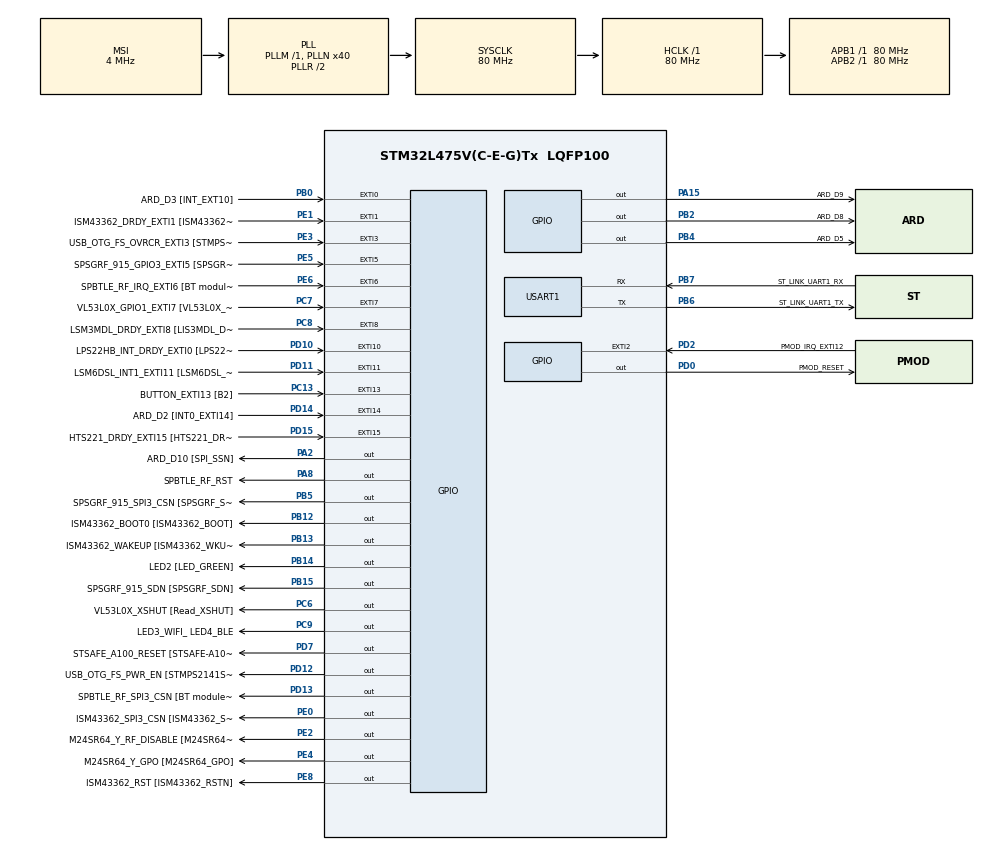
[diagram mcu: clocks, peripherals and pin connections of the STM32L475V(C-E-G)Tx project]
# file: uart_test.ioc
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FREERTOS.Mutexes01=mutex,Dynamic,NULL,Available
FREERTOS.Tasks01=task1,24,128,task1_func,Default,NULL,Dynamic,NULL,NULL;task2,8,128,task2_func,Default,NULL,Dynamic,NULL,NULL
Mcu.Family=STM32L4
Mcu.Name=STM32L475V(C-E-G)Tx
Mcu.Package=LQFP100
NVIC.EXTI15_10_IRQn=true\:5\:0\:false\:false\:true\:true\:true\:true\:true
NVIC.EXTI9_5_IRQn=true\:5\:0\:false\:false\:true\:true\:true\:true\:true
NVIC.PriorityGroup=NVIC_PRIORITYGROUP_4
PA0.GPIO_Label=ARD_D1 [UART4_TX]
PA0.Signal=UART4_TX
PA1.GPIO_Label=ARD_D0 [UART4_RX]
PA1.Signal=UART4_RX
PA10.GPIO_Label=USB_OTG_FS_ID
PA10.Signal=USB_OTG_FS_ID
PA11.GPIO_Label=USB_OTG_FS_DM
PA11.Signal=USB_OTG_FS_DM
PA12.GPIO_Label=USB_OTG_FS_DP
PA12.Signal=USB_OTG_FS_DP
PA13\ (JTMS-SWDIO).GPIO_Label=SYS_JTMS_SWDIO
PA13\ (JTMS-SWDIO).Signal=SYS_JTMS-SWDIO
PA14\ (JTCK-SWCLK).GPIO_Label=SYS_JTCK_SWCLK
PA14\ (JTCK-SWCLK).Signal=SYS_JTCK-SWCLK
PA15\ (JTDI).GPIO_Label=ARD_D9
PA15\ (JTDI).Signal=GPIO_Output
PA2.GPIO_Label=ARD_D10 [SPI_SSN]
PA2.Signal=GPIO_Output
PA3.GPIO_Label=ARD_D4
PA3.Signal=S_TIM2_CH4
PA4.GPIO_Label=ARD_D7
PA4.Signal=ADCx_IN9
PA5.GPIO_Label=ARD_D13 [SPI1_SCK]
PA5.Signal=SPI1_SCK
PA6.GPIO_Label=ARD_D12 [SPI1_MISO]
PA6.Signal=SPI1_MISO
PA7.GPIO_Label=ARD_D11 [SPI1_MOSI]
PA7.Signal=SPI1_MOSI
PA8.GPIO_Label=SPBTLE_RF_RST
PA8.Signal=GPIO_Output
PA9.GPIO_Label=USB_OTG_FS_VBUS [STMPS2141STR_OUT]
PA9.Signal=USB_OTG_FS_VBUS
PB0.GPIO_Label=ARD_D3 [INT_EXT10]
PB0.Signal=GPXTI0
PB1.GPIO_Label=ARD_D6 [ADC1_IN6]
PB1.Signal=ADCx_IN16
PB10.GPIO_Label=INTERNAL_I2C2_SCL [VL53L0X_SCL]
PB10.Signal=I2C2_SCL
PB11.GPIO_Label=INTERNAL_I2C2_SDA [VL53L0X_SDA]
PB11.Signal=I2C2_SDA
PB12.GPIO_Label=ISM43362_BOOT0 [ISM43362_BOOT]
PB12.Signal=GPIO_Output
PB13.GPIO_Label=ISM43362_WAKEUP [ISM43362_WKUP]
PB13.Signal=GPIO_Output
PB14.GPIO_Label=LED2 [LED_GREEN]
PB14.Signal=GPIO_Output
PB15.GPIO_Label=SPSGRF_915_SDN [SPSGRF_SDN]
PB15.Signal=GPIO_Output
PB2.GPIO_Label=ARD_D8
PB2.Signal=GPIO_Output
PB3\ (JTDO-TRACESWO).GPIO_Label=SYS_JTD0_SWO
PB3\ (JTDO-TRACESWO).Signal=SYS_JTDO-SWO
PB4\ (NJTRST).GPIO_Label=ARD_D5
PB4\ (NJTRST).Signal=GPIO_Output
PB5.GPIO_Label=SPSGRF_915_SPI3_CSN [SPSGRF_SPI_CS]
PB5.PinState=GPIO_PIN_SET
PB5.Signal=GPIO_Output
PB6.GPIO_Label=ST_LINK_UART1_TX
PB6.Mode=Asynchronous
PB6.Signal=USART1_TX
PB7.GPIO_Label=ST_LINK_UART1_RX
PB7.Mode=Asynchronous
PB7.Signal=USART1_RX
PB8.GPIO_Label=ARD_D15 [I2C1_SCL]
PB8.Signal=I2C1_SCL
PB9.GPIO_Label=ARD_D14 [I2C1_SDA]
PB9.Signal=I2C1_SDA
PC0.GPIO_Label=ARD_A5 [ADC]
PC0.Signal=ADCx_IN1
PC1.GPIO_Label=ARD_A4 [ADC]
PC1.Signal=ADCx_IN2
PC10.GPIO_Label=INTERNAL_SPI3_SCK [BT module_SPI_SCLK] [ISM43362_SCK]
PC10.Signal=SPI3_SCK
PC11.GPIO_Label=INTERNAL_SPI3_MISO [BT module_SPI_MISO] [ISM43362_MISO]
PC11.Signal=SPI3_MISO
PC12.GPIO_Label=INTERNAL_SPI3_MOSI [BT module_SPI_MOSI] [ISM43362_MOSI]
PC12.Signal=SPI3_MOSI
PC13.GPIO_Label=BUTTON_EXTI13 [B2]
PC13.GPIO_ModeDefaultEXTI=GPIO_MODE_IT_FALLING
PC13.Signal=GPXTI13
PC14-OSC32_IN\ (PC14).Signal=RCC_OSC32_IN
PC15-OSC32_OUT\ (PC15).Signal=RCC_OSC32_OUT
PC2.GPIO_Label=ARD_A3 [ADC]
PC2.Signal=ADCx_IN3
PC3.GPIO_Label=ARD_A2 [ADC]
PC3.Signal=ADCx_IN4
PC4.GPIO_Label=ARD_A1 [ADC]
PC4.Signal=ADCx_IN13
PC5.GPIO_Label=ARD_A0 [ADC]
PC5.Signal=ADCx_IN14
PC6.GPIO_Label=VL53L0X_XSHUT [Read_XSHUT]
PC6.Signal=GPIO_Output
PC7.GPIO_Label=VL53L0X_GPIO1_EXTI7 [VL53L0X_GPIO1]
PC7.Signal=GPXTI7
PC8.GPIO_Label=LSM3MDL_DRDY_EXTI8 [LIS3MDL_DRDY]
PC8.Signal=GPXTI8
PC9.GPIO_Label=LED3_WIFI_ LED4_BLE
PC9.Signal=GPIO_Output
PD0.GPIO_Label=PMOD_RESET
PD0.Signal=GPIO_Output
PD1.GPIO_Label=PMOD_SPI2_SCK
PD1.Signal=SPI2_SCK
PD10.GPIO_Label=LPS22HB_INT_DRDY_EXTI0 [LPS22HB_INT_DRDY] 
PD10.Signal=GPXTI10
PD11.GPIO_Label=LSM6DSL_INT1_EXTI11 [LSM6DSL_INT1]
PD11.Signal=GPXTI11
PD12.GPIO_Label=USB_OTG_FS_PWR_EN [STMPS2141STR_EN]
PD12.Signal=GPIO_Output
PD13.GPIO_Label=SPBTLE_RF_SPI3_CSN [BT module_SPI_CS]
PD13.PinState=GPIO_PIN_SET
PD13.Signal=GPIO_Output
PD14.GPIO_Label=ARD_D2 [INT0_EXTI14]
PD14.Signal=GPXTI14
PD15.GPIO_Label=HTS221_DRDY_EXTI15 [HTS221_DRDY]
PD15.Signal=GPXTI15
PD2.GPIO_Label=PMOD_IRQ_EXTI12
PD2.Signal=GPXTI2
PD3.GPIO_Label=PMOD_UART2_CTS
PD3.Signal=USART2_CTS
PD4.GPIO_Label=PMOD_UART2_RTS
PD4.Signal=USART2_RTS
PD5.GPIO_Label=PMOD_UART2_TX
PD5.Signal=USART2_TX
PD6.GPIO_Label=PMOD_UART2_RX
PD6.Signal=USART2_RX
PD7.GPIO_Label=STSAFE_A100_RESET [STSAFE-A100_RESET]
PD7.Signal=GPIO_Output
PD8.GPIO_Label=INTERNAL_UART3_TX [ISM43362_RX]
PD8.Signal=USART3_TX
PD9.GPIO_Label=INTERNAL_UART3_RX [ISM43362_TX]
PD9.Signal=USART3_RX
PE0.GPIO_Label=ISM43362_SPI3_CSN [ISM43362_SSN]
PE0.PinState=GPIO_PIN_SET
PE0.Signal=GPIO_Output
PE1.GPIO_Label=ISM43362_DRDY_EXTI1 [ISM43362_DATARDY]
PE1.Signal=GPXTI1
PE10.GPIO_Label=QUADSPI_CLK [MX25R6435F_SCLK]
PE10.Signal=QUADSPI_CLK
PE11.GPIO_Label=QUADSPI_NCS [MX25R6435F_SCLK]
PE11.Signal=QUADSPI_NCS
PE12.GPIO_Label=OQUADSPI_BK1_IO0 [MX25R6435F_IO0]
PE12.Signal=QUADSPI_BK1_IO0
PE13.GPIO_Label=QUADSPI_BK1_IO1 [MX25R6435F_IO1]
PE13.Signal=QUADSPI_BK1_IO1
PE14.GPIO_Label=QUAD_SPI_BK1_IO2 [MX25R6435F_IO2]
PE14.Signal=QUADSPI_BK1_IO2
PE15.GPIO_Label=QUAD_SPI_BK1_IO3 [MX25R6435F_IO3]
PE15.Signal=QUADSPI_BK1_IO3
PE2.GPIO_Label=M24SR64_Y_RF_DISABLE [M24SR64_RFDIS]
PE2.Signal=GPIO_Output
PE3.GPIO_Label=USB_OTG_FS_OVRCR_EXTI3 [STMPS2141STR_FAULT]
PE3.Signal=GPXTI3
PE4.GPIO_Label=M24SR64_Y_GPO [M24SR64_GPO]
PE4.Signal=GPIO_Output
PE5.GPIO_Label=SPSGRF_915_GPIO3_EXTI5 [SPSGRF_GPIO_3]
PE5.Signal=GPXTI5
PE6.GPIO_Label=SPBTLE_RF_IRQ_EXTI6 [BT module_SPI_IRQ]
PE6.Signal=GPXTI6
PE7.GPIO_Label=DFSDM1_DATIN2 [MP34DT01_DOUT]
PE7.Signal=S_DATAIN2DFSDM1
PE8.GPIO_Label=ISM43362_RST [ISM43362_RSTN]
PE8.Signal=GPIO_Output
PE9.GPIO_Label=DFSDM1_CKOUT [MP34DT01_CLK]
PE9.Signal=S_CKOUTDFSDM1
ProjectManager.HeapSize=0x200
ProjectManager.StackSize=0x400
ProjectManager.TargetToolchain=STM32CubeIDE
RCC.ADCFreq_Value=48000000
RCC.AHBFreq_Value=80000000
RCC.APB1Freq_Value=80000000
RCC.APB1TimFreq_Value=80000000
RCC.APB2Freq_Value=80000000
RCC.APB2TimFreq_Value=80000000
RCC.CortexFreq_Value=80000000
RCC.HCLKFreq_Value=80000000
RCC.HSE_VALUE=8000000
RCC.HSI_VALUE=16000000
RCC.LSE_VALUE=32768
RCC.MSI_VALUE=4000000
RCC.PLLN=40
RCC.PLLSAI1N=24
RCC.SYSCLKFreq_VALUE=80000000
RCC.SYSCLKSource=RCC_SYSCLKSOURCE_PLLCLK
RCC.USBFreq_Value=48000000
RCC.VCOOutputFreq_Value=160000000
SH.ADCx_IN1.0=ADC1_IN1
SH.ADCx_IN13.0=ADC1_IN13
SH.ADCx_IN14.0=ADC1_IN14
SH.ADCx_IN16.0=ADC1_IN16
SH.ADCx_IN2.0=ADC1_IN2
SH.ADCx_IN3.0=ADC1_IN3
SH.ADCx_IN4.0=ADC1_IN4
SH.ADCx_IN9.0=ADC1_IN9
SH.S_CKOUTDFSDM1.0=DFSDM1_CKOUT
SH.S_DATAIN2DFSDM1.0=DFSDM1_DATIN2
SH.S_TIM2_CH4.0=TIM2_CH4
USART1.VirtualMode-Asynchronous=VM_ASYNC
VP_FREERTOS_VS_CMSIS_V2.Mode=CMSIS_V2
board=B-L475E-IOT01A1

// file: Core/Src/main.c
/* USER CODE BEGIN Header */
/**
  ******************************************************************************
  * @file           : main.c
  * @brief          : Main program body
  ******************************************************************************
  * @attention
  *
  * Copyright (c) 2025 STMicroelectronics.
  * All rights reserved.
  *
  * This software is licensed under terms that can be found in the LICENSE file
  * in the root directory of this software component.
  * If no LICENSE file comes with this software, it is provided AS-IS.
  *
  ******************************************************************************
  */
/* USER CODE END Header */
#include "main.h"
#include "cmsis_os.h"

/* USER CODE BEGIN Includes */
#include "stdio.h"
#include "stdlib.h"
/* USER CODE END Includes */

UART_HandleTypeDef huart1;

/* Definitions for task1 */
osThreadId_t task1Handle;
const osThreadAttr_t task1_attributes = {
  .name = "task1",
  .stack_size = 128 * 4,
  .priority = (osPriority_t) osPriorityNormal,
};
/* Definitions for task2 */
osThreadId_t task2Handle;
const osThreadAttr_t task2_attributes = {
  .name = "task2",
  .stack_size = 128 * 4,
  .priority = (osPriority_t) osPriorityLow,
};
/* USER CODE BEGIN PV */
int d = 0;
/* USER CODE END PV */

void SystemClock_Config(void);
static void MX_GPIO_Init(void);
static void MX_USART1_UART_Init(void);
void task1_func(void *argument);
void task2_func(void *argument);

/* USER CODE BEGIN PFP */
int __io_putchar (int ch)
{
	HAL_UART_Transmit (&huart1, (uint8_t *) &ch, 1, 0xFFFFFFFF);
	return ch;
}

int __io_getchar (void)
{
	uint8_t ch;
	HAL_StatusTypeDef status;

	do {
		status = HAL_UART_Receive (&huart1, &ch, 1, 0);
		if (status == HAL_TIMEOUT) {
			osDelay(1);
		}
	} while (status == HAL_TIMEOUT);

	if (status != HAL_OK) {
		return -1;
	}
	return (int)ch;
}
/* USER CODE END PFP */

int main(void)
{

  /* MCU Configuration--------------------------------------------------------*/

  /* Reset of all peripherals, Initializes the Flash interface and the Systick. */
  HAL_Init();

  /* Configure the system clock */
  SystemClock_Config();

  /* Initialize all configured peripherals */
  MX_GPIO_Init();
  MX_USART1_UART_Init();

  /* Init scheduler */
  osKernelInitialize();
  /* Create the mutex(es) */
  /* creation of mutex */

  /* Create the thread(s) */
  /* creation of task1 */
  task1Handle = osThreadNew(task1_func, NULL, &task1_attributes);

  /* creation of task2 */
  task2Handle = osThreadNew(task2_func, NULL, &task2_attributes);

  /* Start scheduler */
  osKernelStart();

  /* We should never get here as control is now taken by the scheduler */

  /* Infinite loop */
  while (1)
  {

  }
}

void SystemClock_Config(void)
{
  RCC_OscInitTypeDef RCC_OscInitStruct = {0};
  RCC_ClkInitTypeDef RCC_ClkInitStruct = {0};

  /** Configure the main internal regulator output voltage
  */
  if (HAL_PWREx_ControlVoltageScaling(PWR_REGULATOR_VOLTAGE_SCALE1) != HAL_OK)
  {
    Error_Handler();
  }

  /** Initializes the RCC Oscillators according to the specified parameters
  * in the RCC_OscInitTypeDef structure.
  */
  RCC_OscInitStruct.OscillatorType = RCC_OSCILLATORTYPE_MSI;
  RCC_OscInitStruct.MSIState = RCC_MSI_ON;
  RCC_OscInitStruct.MSICalibrationValue = 0;
  RCC_OscInitStruct.MSIClockRange = RCC_MSIRANGE_6;
  RCC_OscInitStruct.PLL.PLLState = RCC_PLL_ON;
  RCC_OscInitStruct.PLL.PLLSource = RCC_PLLSOURCE_MSI;
  RCC_OscInitStruct.PLL.PLLM = 1;
  RCC_OscInitStruct.PLL.PLLN = 40;
  RCC_OscInitStruct.PLL.PLLP = RCC_PLLP_DIV7;
  RCC_OscInitStruct.PLL.PLLQ = RCC_PLLQ_DIV2;
  RCC_OscInitStruct.PLL.PLLR = RCC_PLLR_DIV2;
  if (HAL_RCC_OscConfig(&RCC_OscInitStruct) != HAL_OK)
  {
    Error_Handler();
  }

  /** Initializes the CPU, AHB and APB buses clocks
  */
  RCC_ClkInitStruct.ClockType = RCC_CLOCKTYPE_HCLK|RCC_CLOCKTYPE_SYSCLK
                              |RCC_CLOCKTYPE_PCLK1|RCC_CLOCKTYPE_PCLK2;
  RCC_ClkInitStruct.SYSCLKSource = RCC_SYSCLKSOURCE_PLLCLK;
  RCC_ClkInitStruct.AHBCLKDivider = RCC_SYSCLK_DIV1;
  RCC_ClkInitStruct.APB1CLKDivider = RCC_HCLK_DIV1;
  RCC_ClkInitStruct.APB2CLKDivider = RCC_HCLK_DIV1;

  if (HAL_RCC_ClockConfig(&RCC_ClkInitStruct, FLASH_LATENCY_4) != HAL_OK)
  {
    Error_Handler();
  }
}

static void MX_USART1_UART_Init(void)
{

  huart1.Instance = USART1;
  huart1.Init.BaudRate = 115200;
  huart1.Init.WordLength = UART_WORDLENGTH_8B;
  huart1.Init.StopBits = UART_STOPBITS_1;
  huart1.Init.Parity = UART_PARITY_NONE;
  huart1.Init.Mode = UART_MODE_TX_RX;
  huart1.Init.HwFlowCtl = UART_HWCONTROL_NONE;
  huart1.Init.OverSampling = UART_OVERSAMPLING_16;
  huart1.Init.OneBitSampling = UART_ONE_BIT_SAMPLE_DISABLE;
  huart1.AdvancedInit.AdvFeatureInit = UART_ADVFEATURE_NO_INIT;
  if (HAL_UART_Init(&huart1) != HAL_OK)
  {
    Error_Handler();
  }

}

static void MX_GPIO_Init(void)
{
  GPIO_InitTypeDef GPIO_InitStruct = {0};

  /* GPIO Ports Clock Enable */
  __HAL_RCC_GPIOE_CLK_ENABLE();
  __HAL_RCC_GPIOC_CLK_ENABLE();
  __HAL_RCC_GPIOA_CLK_ENABLE();
  __HAL_RCC_GPIOB_CLK_ENABLE();
  __HAL_RCC_GPIOD_CLK_ENABLE();

  /*Configure GPIO pin Output Level */
  HAL_GPIO_WritePin(GPIOE, M24SR64_Y_RF_DISABLE_Pin|M24SR64_Y_GPO_Pin|ISM43362_RST_Pin, GPIO_PIN_RESET);

  /*Configure GPIO pin Output Level */
  HAL_GPIO_WritePin(GPIOA, ARD_D10_Pin|SPBTLE_RF_RST_Pin|ARD_D9_Pin, GPIO_PIN_RESET);

  /*Configure GPIO pin Output Level */
  HAL_GPIO_WritePin(GPIOB, ARD_D8_Pin|ISM43362_BOOT0_Pin|ISM43362_WAKEUP_Pin|LED2_Pin
                          |SPSGRF_915_SDN_Pin|ARD_D5_Pin, GPIO_PIN_RESET);

  /*Configure GPIO pin Output Level */
  HAL_GPIO_WritePin(GPIOD, USB_OTG_FS_PWR_EN_Pin|PMOD_RESET_Pin|STSAFE_A100_RESET_Pin, GPIO_PIN_RESET);

  /*Configure GPIO pin Output Level */
  HAL_GPIO_WritePin(SPBTLE_RF_SPI3_CSN_GPIO_Port, SPBTLE_RF_SPI3_CSN_Pin, GPIO_PIN_SET);

  /*Configure GPIO pin Output Level */
  HAL_GPIO_WritePin(GPIOC, VL53L0X_XSHUT_Pin|LED3_WIFI__LED4_BLE_Pin, GPIO_PIN_RESET);

  /*Configure GPIO pin Output Level */
  HAL_GPIO_WritePin(SPSGRF_915_SPI3_CSN_GPIO_Port, SPSGRF_915_SPI3_CSN_Pin, GPIO_PIN_SET);

  /*Configure GPIO pin Output Level */
  HAL_GPIO_WritePin(ISM43362_SPI3_CSN_GPIO_Port, ISM43362_SPI3_CSN_Pin, GPIO_PIN_SET);

  /*Configure GPIO pins : M24SR64_Y_RF_DISABLE_Pin M24SR64_Y_GPO_Pin ISM43362_RST_Pin ISM43362_SPI3_CSN_Pin */
  GPIO_InitStruct.Pin = M24SR64_Y_RF_DISABLE_Pin|M24SR64_Y_GPO_Pin|ISM43362_RST_Pin|ISM43362_SPI3_CSN_Pin;
  GPIO_InitStruct.Mode = GPIO_MODE_OUTPUT_PP;
  GPIO_InitStruct.Pull = GPIO_NOPULL;
  GPIO_InitStruct.Speed = GPIO_SPEED_FREQ_LOW;
  HAL_GPIO_Init(GPIOE, &GPIO_InitStruct);

  /*Configure GPIO pins : USB_OTG_FS_OVRCR_EXTI3_Pin SPSGRF_915_GPIO3_EXTI5_Pin SPBTLE_RF_IRQ_EXTI6_Pin ISM43362_DRDY_EXTI1_Pin */
  GPIO_InitStruct.Pin = USB_OTG_FS_OVRCR_EXTI3_Pin|SPSGRF_915_GPIO3_EXTI5_Pin|SPBTLE_RF_IRQ_EXTI6_Pin|ISM43362_DRDY_EXTI1_Pin;
  GPIO_InitStruct.Mode = GPIO_MODE_IT_RISING;
  GPIO_InitStruct.Pull = GPIO_NOPULL;
  HAL_GPIO_Init(GPIOE, &GPIO_InitStruct);

  /*Configure GPIO pin : BUTTON_EXTI13_Pin */
  GPIO_InitStruct.Pin = BUTTON_EXTI13_Pin;
  GPIO_InitStruct.Mode = GPIO_MODE_IT_FALLING;
  GPIO_InitStruct.Pull = GPIO_NOPULL;
  HAL_GPIO_Init(BUTTON_EXTI13_GPIO_Port, &GPIO_InitStruct);

  /*Configure GPIO pins : ARD_A5_Pin ARD_A4_Pin ARD_A3_Pin ARD_A2_Pin
                           ARD_A1_Pin ARD_A0_Pin */
  GPIO_InitStruct.Pin = ARD_A5_Pin|ARD_A4_Pin|ARD_A3_Pin|ARD_A2_Pin
                          |ARD_A1_Pin|ARD_A0_Pin;
  GPIO_InitStruct.Mode = GPIO_MODE_ANALOG_ADC_CONTROL;
  GPIO_InitStruct.Pull = GPIO_NOPULL;
  HAL_GPIO_Init(GPIOC, &GPIO_InitStruct);

  /*Configure GPIO pins : ARD_D1_Pin ARD_D0_Pin */
  GPIO_InitStruct.Pin = ARD_D1_Pin|ARD_D0_Pin;
  GPIO_InitStruct.Mode = GPIO_MODE_AF_PP;
  GPIO_InitStruct.Pull = GPIO_NOPULL;
  GPIO_InitStruct.Speed = GPIO_SPEED_FREQ_VERY_HIGH;
  GPIO_InitStruct.Alternate = GPIO_AF8_UART4;
  HAL_GPIO_Init(GPIOA, &GPIO_InitStruct);

  /*Configure GPIO pins : ARD_D10_Pin SPBTLE_RF_RST_Pin ARD_D9_Pin */
  GPIO_InitStruct.Pin = ARD_D10_Pin|SPBTLE_RF_RST_Pin|ARD_D9_Pin;
  GPIO_InitStruct.Mode = GPIO_MODE_OUTPUT_PP;
  GPIO_InitStruct.Pull = GPIO_NOPULL;
  GPIO_InitStruct.Speed = GPIO_SPEED_FREQ_LOW;
  HAL_GPIO_Init(GPIOA, &GPIO_InitStruct);

  /*Configure GPIO pin : ARD_D4_Pin */
  GPIO_InitStruct.Pin = ARD_D4_Pin;
  GPIO_InitStruct.Mode = GPIO_MODE_AF_PP;
  GPIO_InitStruct.Pull = GPIO_NOPULL;
  GPIO_InitStruct.Speed = GPIO_SPEED_FREQ_LOW;
  GPIO_InitStruct.Alternate = GPIO_AF1_TIM2;
  HAL_GPIO_Init(ARD_D4_GPIO_Port, &GPIO_InitStruct);

  /*Configure GPIO pin : ARD_D7_Pin */
  GPIO_InitStruct.Pin = ARD_D7_Pin;
  GPIO_InitStruct.Mode = GPIO_MODE_ANALOG_ADC_CONTROL;
  GPIO_InitStruct.Pull = GPIO_NOPULL;
  HAL_GPIO_Init(ARD_D7_GPIO_Port, &GPIO_InitStruct);

  /*Configure GPIO pins : ARD_D13_Pin ARD_D12_Pin ARD_D11_Pin */
  GPIO_InitStruct.Pin = ARD_D13_Pin|ARD_D12_Pin|ARD_D11_Pin;
  GPIO_InitStruct.Mode = GPIO_MODE_AF_PP;
  GPIO_InitStruct.Pull = GPIO_NOPULL;
  GPIO_InitStruct.Speed = GPIO_SPEED_FREQ_VERY_HIGH;
  GPIO_InitStruct.Alternate = GPIO_AF5_SPI1;
  HAL_GPIO_Init(GPIOA, &GPIO_InitStruct);

  /*Configure GPIO pin : ARD_D3_Pin */
  GPIO_InitStruct.Pin = ARD_D3_Pin;
  GPIO_InitStruct.Mode = GPIO_MODE_IT_RISING;
  GPIO_InitStruct.Pull = GPIO_NOPULL;
  HAL_GPIO_Init(ARD_D3_GPIO_Port, &GPIO_InitStruct);

  /*Configure GPIO pin : ARD_D6_Pin */
  GPIO_InitStruct.Pin = ARD_D6_Pin;
  GPIO_InitStruct.Mode = GPIO_MODE_ANALOG_ADC_CONTROL;
  GPIO_InitStruct.Pull = GPIO_NOPULL;
  HAL_GPIO_Init(ARD_D6_GPIO_Port, &GPIO_InitStruct);

  /*Configure GPIO pins : ARD_D8_Pin ISM43362_BOOT0_Pin ISM43362_WAKEUP_Pin LED2_Pin
                           SPSGRF_915_SDN_Pin ARD_D5_Pin SPSGRF_915_SPI3_CSN_Pin */
  GPIO_InitStruct.Pin = ARD_D8_Pin|ISM43362_BOOT0_Pin|ISM43362_WAKEUP_Pin|LED2_Pin
                          |SPSGRF_915_SDN_Pin|ARD_D5_Pin|SPSGRF_915_SPI3_CSN_Pin;
  GPIO_InitStruct.Mode = GPIO_MODE_OUTPUT_PP;
  GPIO_InitStruct.Pull = GPIO_NOPULL;
  GPIO_InitStruct.Speed = GPIO_SPEED_FREQ_LOW;
  HAL_GPIO_Init(GPIOB, &GPIO_InitStruct);

  /*Configure GPIO pins : DFSDM1_DATIN2_Pin DFSDM1_CKOUT_Pin */
  GPIO_InitStruct.Pin = DFSDM1_DATIN2_Pin|DFSDM1_CKOUT_Pin;
  GPIO_InitStruct.Mode = GPIO_MODE_AF_PP;
  GPIO_InitStruct.Pull = GPIO_NOPULL;
  GPIO_InitStruct.Speed = GPIO_SPEED_FREQ_LOW;
  GPIO_InitStruct.Alternate = GPIO_AF6_DFSDM1;
  HAL_GPIO_Init(GPIOE, &GPIO_InitStruct);

  /*Configure GPIO pins : QUADSPI_CLK_Pin QUADSPI_NCS_Pin OQUADSPI_BK1_IO0_Pin QUADSPI_BK1_IO1_Pin
                           QUAD_SPI_BK1_IO2_Pin QUAD_SPI_BK1_IO3_Pin */
  GPIO_InitStruct.Pin = QUADSPI_CLK_Pin|QUADSPI_NCS_Pin|OQUADSPI_BK1_IO0_Pin|QUADSPI_BK1_IO1_Pin
                          |QUAD_SPI_BK1_IO2_Pin|QUAD_SPI_BK1_IO3_Pin;
  GPIO_InitStruct.Mode = GPIO_MODE_AF_PP;
  GPIO_InitStruct.Pull = GPIO_NOPULL;
  GPIO_InitStruct.Speed = GPIO_SPEED_FREQ_VERY_HIGH;
  GPIO_InitStruct.Alternate = GPIO_AF10_QUADSPI;
  HAL_GPIO_Init(GPIOE, &GPIO_InitStruct);

  /*Configure GPIO pins : INTERNAL_I2C2_SCL_Pin INTERNAL_I2C2_SDA_Pin */
  GPIO_InitStruct.Pin = INTERNAL_I2C2_SCL_Pin|INTERNAL_I2C2_SDA_Pin;
  GPIO_InitStruct.Mode = GPIO_MODE_AF_OD;
  GPIO_InitStruct.Pull = GPIO_NOPULL;
  GPIO_InitStruct.Speed = GPIO_SPEED_FREQ_VERY_HIGH;
  GPIO_InitStruct.Alternate = GPIO_AF4_I2C2;
  HAL_GPIO_Init(GPIOB, &GPIO_InitStruct);

  /*Configure GPIO pins : INTERNAL_UART3_TX_Pin INTERNAL_UART3_RX_Pin */
  GPIO_InitStruct.Pin = INTERNAL_UART3_TX_Pin|INTERNAL_UART3_RX_Pin;
  GPIO_InitStruct.Mode = GPIO_MODE_AF_PP;
  GPIO_InitStruct.Pull = GPIO_NOPULL;
  GPIO_InitStruct.Speed = GPIO_SPEED_FREQ_VERY_HIGH;
  GPIO_InitStruct.Alternate = GPIO_AF7_USART3;
  HAL_GPIO_Init(GPIOD, &GPIO_InitStruct);

  /*Configure GPIO pins : LPS22HB_INT_DRDY_EXTI0_Pin LSM6DSL_INT1_EXTI11_Pin ARD_D2_Pin HTS221_DRDY_EXTI15_Pin
                           PMOD_IRQ_EXTI12_Pin */
  GPIO_InitStruct.Pin = LPS22HB_INT_DRDY_EXTI0_Pin|LSM6DSL_INT1_EXTI11_Pin|ARD_D2_Pin|HTS221_DRDY_EXTI15_Pin
                          |PMOD_IRQ_EXTI12_Pin;
  GPIO_InitStruct.Mode = GPIO_MODE_IT_RISING;
  GPIO_InitStruct.Pull = GPIO_NOPULL;
  HAL_GPIO_Init(GPIOD, &GPIO_InitStruct);

  /*Configure GPIO pins : USB_OTG_FS_PWR_EN_Pin SPBTLE_RF_SPI3_CSN_Pin PMOD_RESET_Pin STSAFE_A100_RESET_Pin */
  GPIO_InitStruct.Pin = USB_OTG_FS_PWR_EN_Pin|SPBTLE_RF_SPI3_CSN_Pin|PMOD_RESET_Pin|STSAFE_A100_RESET_Pin;
  GPIO_InitStruct.Mode = GPIO_MODE_OUTPUT_PP;
  GPIO_InitStruct.Pull = GPIO_NOPULL;
  GPIO_InitStruct.Speed = GPIO_SPEED_FREQ_LOW;
  HAL_GPIO_Init(GPIOD, &GPIO_InitStruct);

  /*Configure GPIO pins : VL53L0X_XSHUT_Pin LED3_WIFI__LED4_BLE_Pin */
  GPIO_InitStruct.Pin = VL53L0X_XSHUT_Pin|LED3_WIFI__LED4_BLE_Pin;
  GPIO_InitStruct.Mode = GPIO_MODE_OUTPUT_PP;
  GPIO_InitStruct.Pull = GPIO_NOPULL;
  GPIO_InitStruct.Speed = GPIO_SPEED_FREQ_LOW;
  HAL_GPIO_Init(GPIOC, &GPIO_InitStruct);

  /*Configure GPIO pins : VL53L0X_GPIO1_EXTI7_Pin LSM3MDL_DRDY_EXTI8_Pin */
  GPIO_InitStruct.Pin = VL53L0X_GPIO1_EXTI7_Pin|LSM3MDL_DRDY_EXTI8_Pin;
  GPIO_InitStruct.Mode = GPIO_MODE_IT_RISING;
  GPIO_InitStruct.Pull = GPIO_NOPULL;
  HAL_GPIO_Init(GPIOC, &GPIO_InitStruct);

  /*Configure GPIO pin : USB_OTG_FS_VBUS_Pin */
  GPIO_InitStruct.Pin = USB_OTG_FS_VBUS_Pin;
  GPIO_InitStruct.Mode = GPIO_MODE_INPUT;
  GPIO_InitStruct.Pull = GPIO_NOPULL;
  HAL_GPIO_Init(USB_OTG_FS_VBUS_GPIO_Port, &GPIO_InitStruct);

  /*Configure GPIO pins : USB_OTG_FS_ID_Pin USB_OTG_FS_DM_Pin USB_OTG_FS_DP_Pin */
  GPIO_InitStruct.Pin = USB_OTG_FS_ID_Pin|USB_OTG_FS_DM_Pin|USB_OTG_FS_DP_Pin;
  GPIO_InitStruct.Mode = GPIO_MODE_AF_PP;
  GPIO_InitStruct.Pull = GPIO_NOPULL;
  GPIO_InitStruct.Speed = GPIO_SPEED_FREQ_VERY_HIGH;
  GPIO_InitStruct.Alternate = GPIO_AF10_OTG_FS;
  HAL_GPIO_Init(GPIOA, &GPIO_InitStruct);

  /*Configure GPIO pins : INTERNAL_SPI3_SCK_Pin INTERNAL_SPI3_MISO_Pin INTERNAL_SPI3_MOSI_Pin */
  GPIO_InitStruct.Pin = INTERNAL_SPI3_SCK_Pin|INTERNAL_SPI3_MISO_Pin|INTERNAL_SPI3_MOSI_Pin;
  GPIO_InitStruct.Mode = GPIO_MODE_AF_PP;
  GPIO_InitStruct.Pull = GPIO_NOPULL;
  GPIO_InitStruct.Speed = GPIO_SPEED_FREQ_VERY_HIGH;
  GPIO_InitStruct.Alternate = GPIO_AF6_SPI3;
  HAL_GPIO_Init(GPIOC, &GPIO_InitStruct);

  /*Configure GPIO pin : PMOD_SPI2_SCK_Pin */
  GPIO_InitStruct.Pin = PMOD_SPI2_SCK_Pin;
  GPIO_InitStruct.Mode = GPIO_MODE_AF_PP;
  GPIO_InitStruct.Pull = GPIO_NOPULL;
  GPIO_InitStruct.Speed = GPIO_SPEED_FREQ_VERY_HIGH;
  GPIO_InitStruct.Alternate = GPIO_AF5_SPI2;
  HAL_GPIO_Init(PMOD_SPI2_SCK_GPIO_Port, &GPIO_InitStruct);

  /*Configure GPIO pins : PMOD_UART2_CTS_Pin PMOD_UART2_RTS_Pin PMOD_UART2_TX_Pin PMOD_UART2_RX_Pin */
  GPIO_InitStruct.Pin = PMOD_UART2_CTS_Pin|PMOD_UART2_RTS_Pin|PMOD_UART2_TX_Pin|PMOD_UART2_RX_Pin;
  GPIO_InitStruct.Mode = GPIO_MODE_AF_PP;
  GPIO_InitStruct.Pull = GPIO_NOPULL;
  GPIO_InitStruct.Speed = GPIO_SPEED_FREQ_VERY_HIGH;
  GPIO_InitStruct.Alternate = GPIO_AF7_USART2;
  HAL_GPIO_Init(GPIOD, &GPIO_InitStruct);

  /*Configure GPIO pins : ARD_D15_Pin ARD_D14_Pin */
  GPIO_InitStruct.Pin = ARD_D15_Pin|ARD_D14_Pin;
  GPIO_InitStruct.Mode = GPIO_MODE_AF_OD;
  GPIO_InitStruct.Pull = GPIO_NOPULL;
  GPIO_InitStruct.Speed = GPIO_SPEED_FREQ_VERY_HIGH;
  GPIO_InitStruct.Alternate = GPIO_AF4_I2C1;
  HAL_GPIO_Init(GPIOB, &GPIO_InitStruct);

  /* EXTI interrupt init*/
  HAL_NVIC_SetPriority(EXTI9_5_IRQn, 5, 0);
  HAL_NVIC_EnableIRQ(EXTI9_5_IRQn);

  HAL_NVIC_SetPriority(EXTI15_10_IRQn, 5, 0);
  HAL_NVIC_EnableIRQ(EXTI15_10_IRQn);

}

void task1_func(void *argument)
{
  /* USER CODE BEGIN 5 */
  char buffer[32];
  int idx = 0;
  int ch;

  /* Infinite loop */
  for(;;)
  {
	printf("Enter a number: ");
	fflush(stdout);
	idx = 0;
	buffer[0] = '\0';

	while (idx < (sizeof(buffer) - 1)) {
		ch = __io_getchar();
		if (ch == -1) {
			osDelay(1);
			continue;
		}
		if (ch == '\n' || ch == '\r') {
			buffer[idx] = '\0';
			break;
		} else if (ch >= '0' && ch <= '9') {
			buffer[idx++] = (char)ch;
		} else if (ch == '-' && idx == 0) {
			buffer[idx++] = (char)ch;
		}
	}

	if (idx > 0) {
		d = atoi(buffer);
		printf("Got number: %d\n", d);
	} else {
		printf("Invalid input\n");
	}
	fflush(stdout);

    osDelay(1000);
  }
  /* USER CODE END 5 */
}

void task2_func(void *argument)
{
  /* USER CODE BEGIN task2_func */
  /* Infinite loop */
  for(;;)
  {
	printf("Current number: %d\n", d);
	fflush(stdout);
    osDelay(1000);
  }
  /* USER CODE END task2_func */
}

void Error_Handler(void)
{
  __disable_irq();
  while (1)
  {
  }
}
